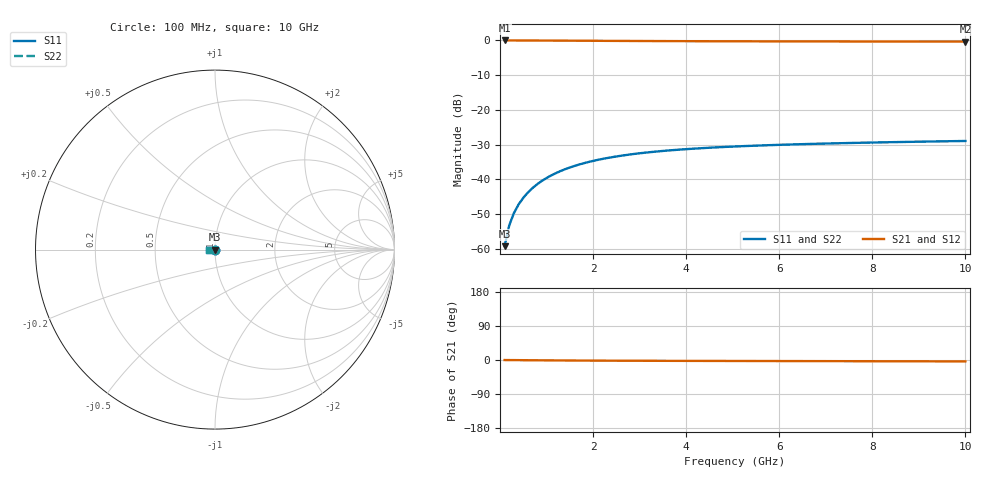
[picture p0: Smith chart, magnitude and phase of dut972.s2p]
! Touchstone file exported from HFSS 2024.1.0
!  File:  C:/UserFiles/LocalFiles/RDL_TSV_Batchsim/temp_TSV1_972_1779951296.aedt
!  Generated:  03:00:54 PM May 28, 2026
!  Design:  TSV1
!  Project:  temp_TSV1_972_1779951296
!  Setup:  Setup1
!  Solution:  Sweep
! Variables:
!  dtsv = 13.87um
!  hbump = 3um
!  htsv = 52.99um
!  lrdl = 252.1521522um
!  p = 40
!  p1 = 58.67um
!  t = 500um
!  trdl = 3um
!  wrdl = 24.89489489um
# GHz S MA R 50.000000
! Terminal data exported
! Port[1] = TSV22_T1
! Port[2] = TSV22_T2
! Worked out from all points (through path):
!   100 points, 100 MHz to 10 GHz, reference 50 ohm
!   highest |S21| = 0.00 dB at 100 MHz (marker M1); lowest = -0.3 dB at 10 GHz (marker M2)
!   lowest |S11| = -59.3 dB at 100 MHz (marker M3), VSWR 1.00, Z = 50 - j0.109 ohm
!   |S11| at or under -10 dB: start of sweep to end of sweep
!   |S22| runs from -59.3 to -29.0 dB; largest |S21 - S12| = 2.3e-15
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0.1  0.00109 -88.6  0.9999 -0.1  0.9999 -0.1  0.00109 -88.6
! Gamma 0 0 0 0
! Port Impedance 50 0 50 0
0.2  0.002177 -92.2  0.9998 -0.2  0.9998 -0.2  0.002177 -92.2
0.3  0.003262 -94.7  0.9996 -0.3  0.9996 -0.3  0.003262 -94.7
0.4  0.00434 -97.0  0.9993 -0.4  0.9993 -0.4  0.00434 -97.0
0.5  0.005406 -99.2  0.9989 -0.5  0.9989 -0.5  0.005406 -99.2
0.6  0.006456 -101.3  0.9985 -0.6  0.9985 -0.6  0.006456 -101.3
0.7  0.007486 -103.4  0.998 -0.7  0.998 -0.7  0.007486 -103.4
0.8  0.008494 -105.4  0.9975 -0.8  0.9975 -0.8  0.008494 -105.4
0.9  0.009478 -107.4  0.9969 -0.9  0.9969 -0.9  0.009478 -107.4
1.1  0.01137 -111.2  0.9956 -1.0  0.9956 -1.0  0.01137 -111.2
1.4  0.01398 -116.6  0.9935 -1.2  0.9935 -1.2  0.01398 -116.6
1.6  0.01557 -119.9  0.992 -1.4  0.992 -1.4  0.01557 -119.9
1.8  0.01705 -123.1  0.9905 -1.5  0.9905 -1.5  0.01705 -123.1
2.1  0.01904 -127.6  0.9882 -1.7  0.9882 -1.7  0.01904 -127.6
2.5  0.02134 -133.0  0.9852 -1.8  0.9852 -1.8  0.02134 -133.0
2.9  0.02327 -137.8  0.9825 -2.0  0.9825 -2.0  0.02327 -137.8
3.4  0.02527 -143.2  0.9795 -2.2  0.9795 -2.2  0.02527 -143.2
4.2  0.02775 -150.4  0.9756 -2.4  0.9756 -2.4  0.02775 -150.4
5.1  0.02981 -157.1  0.9722 -2.6  0.9722 -2.6  0.02981 -157.1
6.7  0.03237 -166.6  0.9679 -3.0  0.9679 -3.0  0.03237 -166.6
8.4  0.03426 -174.6  0.965 -3.3  0.965 -3.3  0.03426 -174.6
10  0.03567 179.1  0.9632 -3.7  0.9632 -3.7  0.03567 179.1
